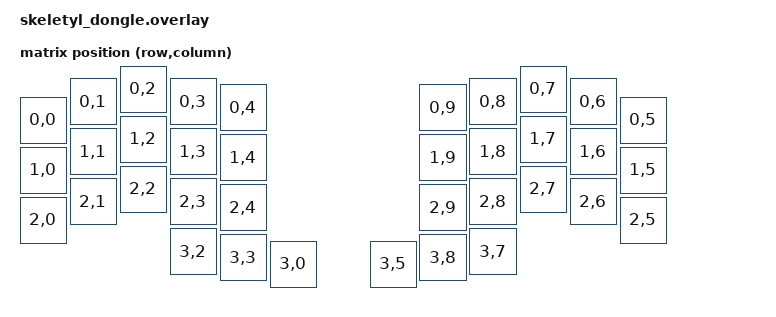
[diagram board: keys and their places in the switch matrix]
// Physical-layout node duplicated from boards/arm/skeletyl/skeletyl.dtsi
// (see rfcs/0001-nice-nano-dongle.md) rather than shared via include -
// skeletyl.dtsi mixes in real board-level config (ADC, UART, flash
// partitions) that has no business being shield-visible, and quote-includes
// don't resolve cleanly across boards/arm/skeletyl -> boards/shields here.
// Keep skeletyl_5col_layout/skeletyl_position_map in sync by hand if the
// physical layout ever changes.

#include <dt-bindings/zmk/matrix_transform.h>
#include <dt-bindings/led/led.h>
#include <physical_layouts.dtsi>

/ {
    chosen {
        zmk,kscan = &mock_kscan;
        zmk,physical-layout = &skeletyl_5col_layout;
        zmk,underglow = &led_strip;
    };

    mock_kscan: kscan_1 {
        compatible = "zmk,kscan-mock";
        columns = <0>;
        rows = <0>;
        events = <0>;
    };

    default_transform: keymap_transform_0 {
        compatible = "zmk,matrix-transform";
        columns = <10>;
        rows = <4>;

        map = <
RC(0,0) RC(0,1) RC(0,2) RC(0,3) RC(0,4)                 RC(0,9) RC(0,8) RC(0,7) RC(0,6) RC(0,5)
RC(1,0) RC(1,1) RC(1,2) RC(1,3) RC(1,4)                 RC(1,9) RC(1,8) RC(1,7) RC(1,6) RC(1,5)
RC(2,0) RC(2,1) RC(2,2) RC(2,3) RC(2,4)                 RC(2,9) RC(2,8) RC(2,7) RC(2,6) RC(2,5)
                RC(3,2) RC(3,3) RC(3,0)                 RC(3,5) RC(3,8) RC(3,7)
        >;
    };

    skeletyl_5col_layout: skeletyl_5col_layout {
        compatible = "zmk,physical-layout";
        display-name = "Sekeletyl 5 Column";

        transform = <&default_transform>;

        keys  //                     w   h    x    y     rot    rx    ry
            = <&key_physical_attrs 100 100    0   62       0     0     0>
            , <&key_physical_attrs 100 100  100   25       0     0     0>
            , <&key_physical_attrs 100 100  200    0       0     0     0>
            , <&key_physical_attrs 100 100  300   25       0     0     0>
            , <&key_physical_attrs 100 100  400   37       0     0     0>
            , <&key_physical_attrs 100 100  800   37       0     0     0>
            , <&key_physical_attrs 100 100  900   25       0     0     0>
            , <&key_physical_attrs 100 100 1000    0       0     0     0>
            , <&key_physical_attrs 100 100 1100   25       0     0     0>
            , <&key_physical_attrs 100 100 1200   62       0     0     0>
            , <&key_physical_attrs 100 100    0  162       0     0     0>
            , <&key_physical_attrs 100 100  100  125       0     0     0>
            , <&key_physical_attrs 100 100  200  100       0     0     0>
            , <&key_physical_attrs 100 100  300  125       0     0     0>
            , <&key_physical_attrs 100 100  400  137       0     0     0>
            , <&key_physical_attrs 100 100  800  137       0     0     0>
            , <&key_physical_attrs 100 100  900  125       0     0     0>
            , <&key_physical_attrs 100 100 1000  100       0     0     0>
            , <&key_physical_attrs 100 100 1100  125       0     0     0>
            , <&key_physical_attrs 100 100 1200  162       0     0     0>
            , <&key_physical_attrs 100 100    0  262       0     0     0>
            , <&key_physical_attrs 100 100  100  225       0     0     0>
            , <&key_physical_attrs 100 100  200  200       0     0     0>
            , <&key_physical_attrs 100 100  300  225       0     0     0>
            , <&key_physical_attrs 100 100  400  237       0     0     0>
            , <&key_physical_attrs 100 100  800  237       0     0     0>
            , <&key_physical_attrs 100 100  900  225       0     0     0>
            , <&key_physical_attrs 100 100 1000  200       0     0     0>
            , <&key_physical_attrs 100 100 1100  225       0     0     0>
            , <&key_physical_attrs 100 100 1200  262       0     0     0>
            , <&key_physical_attrs 100 100  300  325       0     0     0>
            , <&key_physical_attrs 100 100  400  337       0     0     0>
            , <&key_physical_attrs 100 100  500  350       0     0     0>
            , <&key_physical_attrs 100 100  700  350       0     0     0>
            , <&key_physical_attrs 100 100  800  337       0     0     0>
            , <&key_physical_attrs 100 100  900  325       0     0     0>
            ;
    };

    skeletyl_position_map {
        compatible = "zmk,physical-layout-position-map";

        complete;

        twelve {
            physical-layout = <&skeletyl_5col_layout>;
            positions
                = < 0  1  2  3  4  5  6  7  8  9>
                , <10 11 12 13 14 15 16 17 18 19>
                , <20 21 22 23 24 25 26 27 28 29>
                , <      30 31 32 33 34 35      >
                ;
        };
    };
};

// Stub led_strip: the dongle has no physical LEDs, but &rgb_ug is declared
// BEHAVIOR_LOCALITY_GLOBAL upstream (behavior_rgb_underglow.c) - invoking it
// fans the command out to every split peripheral over BLE, which is how
// both halves' real underglow gets driven. For that fan-out to happen at
// all, the *central* first needs its own local &rgb_ug device to resolve,
// which requires CONFIG_ZMK_RGB_UNDERGLOW=y here, which in turn hard-errors
// at compile time without a zmk,underglow chosen node (rgb_underglow.c:31).
// spi1 is already enabled with default pinctrl on nice!nano's own board
// files (MOSI on P0.10) and otherwise unused on this shield - reusing it
// rather than claiming a new pin. chain-length=1 is arbitrary; nothing is
// physically connected, so the actual pixel count never matters.
&spi1 {
    status = "okay";

    led_strip: ws2812@0 {
        compatible = "worldsemi,ws2812-spi";

        reg = <0>;
        spi-max-frequency = <4000000>;

        chain-length = <1>;
        spi-one-frame = <0x70>;
        spi-zero-frame = <0x40>;
        color-mapping = <LED_COLOR_ID_GREEN
                          LED_COLOR_ID_RED
                          LED_COLOR_ID_BLUE>;
    };
};
